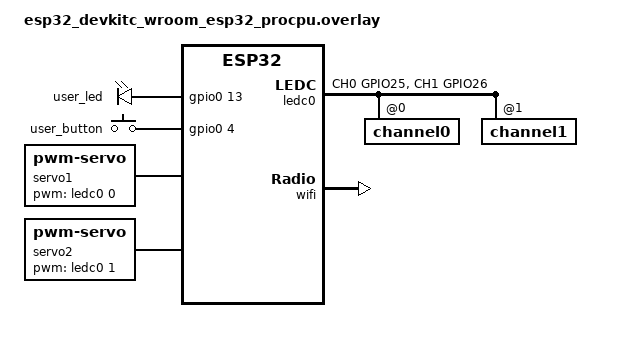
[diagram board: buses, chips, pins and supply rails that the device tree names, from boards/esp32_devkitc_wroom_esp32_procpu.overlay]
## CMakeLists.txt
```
# SPDX-License-Identifier: Apache-2.0

cmake_minimum_required(VERSION 3.20.0)
find_package(Zephyr REQUIRED HINTS $ENV{ZEPHYR_BASE})
project(ldr_mqtt)

target_include_directories(app PRIVATE include)

target_sources(app PRIVATE
  src/main.c
  src/wifi_connect.c
  src/connection_manager.c
  src/broker_connect.c
  src/mqtt_publish.c
  src/servo_control.c
)
```

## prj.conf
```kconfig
# Wi-Fi Configuration
CONFIG_WIFI=y

# Network Configuration
CONFIG_NET_CONFIG_AUTO_INIT=n
CONFIG_NET_CONNECTION_MANAGER=y
CONFIG_NET_DHCPV4=y
CONFIG_NET_DHCPV4_SERVER=y
CONFIG_NET_IF_MAX_IPV4_COUNT=2
CONFIG_NET_IF_MAX_IPV6_COUNT=2
CONFIG_NET_IPV4=y
CONFIG_NET_L2_ETHERNET=y
CONFIG_NET_L2_WIFI_MGMT=y
CONFIG_NET_MGMT=y
CONFIG_NET_MGMT_EVENT=y
CONFIG_NET_MGMT_EVENT_INFO=y
CONFIG_NET_MGMT_EVENT_QUEUE_SIZE=10
CONFIG_NET_MGMT_EVENT_STACK_SIZE=4096
CONFIG_NET_PKT_RX_COUNT=16
CONFIG_NET_PKT_TX_COUNT=16
CONFIG_NET_SOCKETS_SERVICE_STACK_SIZE=4096
CONFIG_NET_TCP=y
CONFIG_NET_UDP=y
CONFIG_NETWORKING=y

# GPIO e logs
CONFIG_GPIO=y
CONFIG_LOG=y
CONFIG_LOG_MODE_DEFERRED=n
CONFIG_NET_LOG=y

CONFIG_POSIX_API=y

# MQTT
CONFIG_MQTT_LIB=y
CONFIG_MQTT_LIB_TLS=n


# Networking
CONFIG_NET_SOCKETS=y

#
CONFIG_STDOUT_CONSOLE=y
CONFIG_PRINTK=y
CONFIG_PWM=y

CONFIG_HEAP_MEM_POOL_SIZE=4096
CONFIG_ASSERT=y
CONFIG_GPIO=y

# ADC
CONFIG_ADC=y
CONFIG_ADC_ESP32=y
```

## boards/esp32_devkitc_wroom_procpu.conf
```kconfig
CONFIG_WIFI_ESP32=y
CONFIG_ESP32_WIFI_STA_AUTO_DHCPV4=y
CONFIG_WIFI_NM=y
CONFIG_WIFI_NM_MAX_MANAGED_INTERFACES=1
```

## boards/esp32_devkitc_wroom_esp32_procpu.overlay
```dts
#include <zephyr/dt-bindings/pwm/pwm.h>

/ {
    aliases {
        led0 = &user_led;
        sw0 = &user_button;
        servo1 = &servo1;
        servo2 = &servo2;
    };

    leds {
        compatible = "gpio-leds";
        user_led: led_0 {
            gpios = <&gpio0 13 GPIO_ACTIVE_HIGH>;
        };
    };

    buttons {
        compatible = "gpio-keys";
        user_button: button_0 {
            gpios = <&gpio0 4 GPIO_ACTIVE_HIGH>;
        };
    };

    servo1: servo1 {
        compatible = "pwm-servo";
        pwms = <&ledc0 0 PWM_MSEC(20) PWM_POLARITY_NORMAL>;
        min-pulse = <PWM_USEC(1000)>;
        max-pulse = <PWM_USEC(2000)>;
    };

    servo2: servo2 {
        compatible = "pwm-servo";
        pwms = <&ledc0 1 PWM_MSEC(20) PWM_POLARITY_NORMAL>;
        min-pulse = <PWM_USEC(1000)>;
        max-pulse = <PWM_USEC(2000)>;
    };
};

&pinctrl {
    ledc0_default: ledc0_default {
        group1 {
            pinmux = <LEDC_CH0_GPIO25>;
            output-enable;
        };
        group2 {
            pinmux = <LEDC_CH1_GPIO26>;
            output-enable;
        };
    };
};

&ledc0 {
    pinctrl-0 = <&ledc0_default>;
    pinctrl-names = "default";
    status = "okay";
    #address-cells = <1>;
    #size-cells = <0>;

    channel0@0 {
        reg = <0x0>;
        timer = <0>;
    };

    channel1@1 {
        reg = <0x1>;
        timer = <0>;
    };
};

&wifi {
    status = "okay";
};
```

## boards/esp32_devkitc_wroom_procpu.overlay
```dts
/ {
    aliases {
        led0 = &user_led;
        sw0 = &user_button;
    };

    leds {
        compatible = "gpio-leds";
        user_led: led_0 {
            gpios = <&gpio0 13 GPIO_ACTIVE_HIGH>;
        };
    };

    buttons {
        compatible = "gpio-keys";
        user_button: button_0 {
            gpios = <&gpio0 4 GPIO_ACTIVE_HIGH>;
        };
    };
};

&wifi {
	status = "okay";
};
```

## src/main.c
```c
#include <zephyr/kernel.h>
#include <zephyr/device.h>
#include <zephyr/drivers/gpio.h>
#include <zephyr/logging/log.h>
#include <zephyr/net/dhcpv4_server.h>
#include <zephyr/net/mqtt.h>
#include <zephyr/net/socket.h>
#include <zephyr/posix/arpa/inet.h>
#include <string.h>

#include "wifi_connect.h"
#include "config.h"
#include "connection_manager.h"
#include "mqtt_publish.h"
#include "servo_control.h"

LOG_MODULE_REGISTER(main_app, LOG_LEVEL_INF);
extern volatile bool mqtt_conectado;


int main(void)
{
    //servo_control_init();
    connection_manager_start();

    while (!mqtt_conectado) {
        LOG_INF("Aguardando conexão MQTT...");
        k_sleep(K_SECONDS(1));
    }

    while (1) {
        k_sleep(K_SECONDS(10));

        if (mqtt_conectado) {
            char payload[32];
            snprintf(payload, sizeof(payload), "Pulse width: %lu", servo1_posicao);
            int ret = mqtt_publish_data("servo/position", payload);
            //LOG_WRN("%lu",servo1_posicao);
            //int ret = mqtt_publish_data("zephyr/test", "olá do main!");
            if (ret != 0) {
                LOG_ERR("Falha ao publicar MQTT: %d", ret);
            }
        } else {
            LOG_WRN("MQTT não conectado, pulando publicação.");
        }
    }

    return 0;
}
```

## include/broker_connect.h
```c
#ifndef BROKER_CONNECT_H
#define BROKER_CONNECT_H

#include <zephyr/net/mqtt.h>

int connect_to_mqtt();
extern volatile bool mqtt_conectado;
extern struct k_thread *mqtt_thread_id;

#endif // BROKER_CONNECT_H
```

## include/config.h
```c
#ifndef CONFIG_H
#define CONFIG_H

#define WIFI_SSID "iPhone de Matheus"
#define WIFI_PSK "matheus123"

#define MQTT_BROKER_ADDR "172.20.10.11"
#define MQTT_BROKER_PORT 1883

#define MQTT_CLIENT_ID "zephyr_client"
#define MQTT_TOPIC_DEFAULT "zephyr/test"
#define MQTT_QOS MQTT_QOS_0_AT_MOST_ONCE

#endif
```

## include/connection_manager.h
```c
#ifndef CONNECTION_MANAGER_H
#define CONNECTION_MANAGER_H

void connection_watchdog(void);
void connection_manager_start(void);

#endif
```

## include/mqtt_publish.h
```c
#ifndef MQTT_PUBLISH_H
#define MQTT_PUBLISH_H

int mqtt_publish_data(const char *topic, const char *payload);

#endif
```

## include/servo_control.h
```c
#ifndef SERVO_CONTROL_H
#define SERVO_CONTROL_H

#include <stdint.h>


void servo_control_init(void);


void set_servo_position(uint8_t index, uint8_t angle);
extern uint32_t servo1_posicao;


#endif 
```

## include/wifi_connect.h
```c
#ifndef WIFI_CONNECT_H
#define WIFI_CONNECT_H

int connect_to_wifi();
extern volatile bool wifi_conectado;

#endif
```

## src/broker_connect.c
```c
#include <zephyr/net/mqtt.h>
#include <zephyr/logging/log.h>
#include <zephyr/net/socket.h>
#include <string.h>
#include "config.h"
#include "broker_connect.h"

LOG_MODULE_REGISTER(broker_connect, LOG_LEVEL_INF);

volatile bool mqtt_conectado = false;
struct mqtt_client mqtt_global_client;
struct sockaddr_storage mqtt_broker;


static void mqtt_evt_handler(struct mqtt_client *const client, const struct mqtt_evt *evt)
{
    switch (evt->type) {
    case MQTT_EVT_CONNACK:
        if (evt->result == 0) {
            LOG_INF("MQTT conectado com sucesso.");
            mqtt_conectado = true;
            mqtt_thread_id = NULL;  // <- Permite reconexão futura caso caia
        } else {
            LOG_ERR("Falha na conexão MQTT: %d", evt->result);
            mqtt_conectado = false;
            mqtt_thread_id = NULL;  // <- Permite nova tentativa
        }
        break;

    case MQTT_EVT_DISCONNECT:
        LOG_WRN("Desconectado do broker MQTT.");
        mqtt_conectado = false;
        mqtt_thread_id = NULL;  // <- Permite nova tentativa
        break;

    default:
        break;
    }
}


#define MQTT_BUFFER_SIZE 512

static uint8_t rx_buffer[MQTT_BUFFER_SIZE];
static uint8_t tx_buffer[MQTT_BUFFER_SIZE];

int connect_to_mqtt(void)
{
    struct sockaddr_in *broker4 = (struct sockaddr_in *)&mqtt_broker;

    broker4->sin_family = AF_INET;
    broker4->sin_port = htons(MQTT_BROKER_PORT);
    inet_pton(AF_INET, MQTT_BROKER_ADDR, &broker4->sin_addr);

    mqtt_client_init(&mqtt_global_client);

    mqtt_global_client.broker = &mqtt_broker;
    mqtt_global_client.evt_cb = mqtt_evt_handler;
    mqtt_global_client.client_id.utf8 = (uint8_t *)MQTT_CLIENT_ID;
    mqtt_global_client.client_id.size = strlen(MQTT_CLIENT_ID);
    mqtt_global_client.protocol_version = MQTT_VERSION_3_1_1;
    mqtt_global_client.transport.type = MQTT_TRANSPORT_NON_SECURE;

    // ✅ Buffers obrigatórios para funcionamento correto
    mqtt_global_client.rx_buf = rx_buffer;
    mqtt_global_client.rx_buf_size = sizeof(rx_buffer);
    mqtt_global_client.tx_buf = tx_buffer;
    mqtt_global_client.tx_buf_size = sizeof(tx_buffer);

    int ret = mqtt_connect(&mqtt_global_client);
    if (ret != 0) {
        LOG_ERR("Erro ao tentar conectar ao broker MQTT: %d", ret);
        mqtt_conectado = false;
        return ret;
    }

    return 0;
}
```

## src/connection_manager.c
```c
#include <zephyr/kernel.h>
#include <zephyr/logging/log.h>
#include <stddef.h> // para NULL
#include "wifi_connect.h"
#include "broker_connect.h"

LOG_MODULE_REGISTER(connection_manager, LOG_LEVEL_INF);

#define STACK_SIZE 2048
#define PRIORITY 1
K_THREAD_STACK_DEFINE(conn_stack, STACK_SIZE);
static struct k_thread conn_thread;

#define MQTT_STACK_SIZE 6144
#define MQTT_PRIORITY 2
K_THREAD_STACK_DEFINE(mqtt_stack, MQTT_STACK_SIZE);
static struct k_thread mqtt_thread;

struct k_thread *mqtt_thread_id = NULL;
extern struct mqtt_client mqtt_global_client;

void mqtt_connection_thread(void *p1, void *p2, void *p3)
{
    ARG_UNUSED(p1); ARG_UNUSED(p2); ARG_UNUSED(p3);
    LOG_INF("Thread MQTT iniciada");

    int rc = connect_to_mqtt();

    if (rc != 0) {
        LOG_ERR("Falha na conexão inicial ao broker MQTT.");
        mqtt_thread_id = NULL;
        return;
    }

    // Aguarda o CONNACK sendo processado via mqtt_input()
    int tentativas = 0;
    while (!mqtt_conectado && tentativas++ < 30) {  // Espera até 3 segundos
        mqtt_input(&mqtt_global_client);  // <- importante!
        k_sleep(K_MSEC(100));
    }

    if (!mqtt_conectado) {
        LOG_ERR("Timeout aguardando CONNACK do broker.");
        mqtt_thread_id = NULL;
        return;
    }

    // Loop principal
    while (mqtt_conectado) {
        rc = mqtt_input(&mqtt_global_client);
        if (rc && rc != -EAGAIN) {
            LOG_ERR("mqtt_input falhou: %d", rc);
            break;
        }

        rc = mqtt_live(&mqtt_global_client);
        if (rc && rc != -EAGAIN) {
            LOG_ERR("mqtt_live falhou: %d", rc);
            break;
        }

        k_sleep(K_MSEC(500));
    }

    LOG_WRN("Loop MQTT encerrado, resetando conexão...");
    mqtt_conectado = false;
    mqtt_thread_id = NULL;
}


void connection_watchdog(void *p1, void *p2, void *p3)
{
    ARG_UNUSED(p1); ARG_UNUSED(p2); ARG_UNUSED(p3);

    while (1) {
        if (!wifi_conectado) {
            LOG_INF("Tentando se reconectar ao wifi ...");
            connect_to_wifi();
        } else if (!mqtt_conectado && mqtt_thread_id == NULL) {
            LOG_INF("Tentando se reconectar ao mqtt (em thread separada)");
            mqtt_thread_id = k_thread_create(&mqtt_thread, mqtt_stack, MQTT_STACK_SIZE,
                                            mqtt_connection_thread, NULL, NULL, NULL,
                                            MQTT_PRIORITY, 0, K_NO_WAIT);
        }

        k_sleep(K_SECONDS(10));
    }
}

void connection_manager_start(void)
{
    LOG_INF("Iniciando Connection Manager...");
    k_thread_create(&conn_thread, conn_stack, STACK_SIZE,
                    connection_watchdog, NULL, NULL, NULL,
                    PRIORITY, 0, K_NO_WAIT);
}
```

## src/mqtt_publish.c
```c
#include <zephyr/net/mqtt.h>
#include <zephyr/logging/log.h>
#include "mqtt_publish.h"
#include "config.h"
#include "broker_connect.h"
#include <zephyr/random/random.h>


LOG_MODULE_REGISTER(mqtt_publish, LOG_LEVEL_INF);

// Extern para acessar a instância global
extern struct mqtt_client mqtt_global_client;
extern volatile bool mqtt_conectado;

int mqtt_publish_data(const char *topic, const char *payload)
{
    if (!mqtt_conectado) {
        LOG_WRN("Abortando publish: MQTT não está conectado.");
        return -ENOTCONN;
    }

    struct mqtt_publish_param param;

    param.message.topic.qos = MQTT_QOS_0_AT_MOST_ONCE;
    param.message.topic.topic.utf8 = (uint8_t *)topic;
    param.message.topic.topic.size = strlen(topic);
    param.message.payload.data = (uint8_t *)payload;
    param.message.payload.len = strlen(payload);
    param.message_id = sys_rand32_get();
    param.dup_flag = 0;
    param.retain_flag = 0;

    int rc = mqtt_publish(&mqtt_global_client, &param);
    if (rc != 0) {
        LOG_ERR("Erro ao publicar: %d", rc);
    } else {
        LOG_INF("Mensagem publicada: %s", payload);
    }

    return 0;
}
```

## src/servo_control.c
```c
#include <zephyr/kernel.h>
#include <zephyr/device.h>
#include <zephyr/drivers/pwm.h>
#include <zephyr/logging/log.h>

LOG_MODULE_REGISTER(servo_control, LOG_LEVEL_INF);

#define STACKSIZE 1024
#define PRIORITY 5
#define STEP PWM_USEC(50)

#define NUM_SERVOS 4

#define SERVO_ALIAS(n) DT_ALIAS(servo##n)

#if !DT_NODE_HAS_STATUS_OKAY(SERVO_ALIAS(1))
#error "Alias servo1 não definido"
#endif
#if !DT_NODE_HAS_STATUS_OKAY(SERVO_ALIAS(2))
#error "Alias servo2 não definido"
#endif
#if !DT_NODE_HAS_STATUS_OKAY(SERVO_ALIAS(3))
#error "Alias servo3 não definido"
#endif
#if !DT_NODE_HAS_STATUS_OKAY(SERVO_ALIAS(4))
#error "Alias servo4 não definido"
#endif

uint32_t servo1_posicao = 0;


enum direction {
    UP,
    DOWN,
};

struct servo_config {
    struct pwm_dt_spec pwm;
    uint32_t pulse_width;
    enum direction dir;
    uint32_t min_pulse;
    uint32_t max_pulse;
};

static struct servo_config servos[NUM_SERVOS] = {
    {
        .pwm = PWM_DT_SPEC_GET(SERVO_ALIAS(1)),
        .pulse_width = DT_PROP(SERVO_ALIAS(1), min_pulse),
        .dir = UP,
        .min_pulse = DT_PROP(SERVO_ALIAS(1), min_pulse),
        .max_pulse = DT_PROP(SERVO_ALIAS(1), max_pulse),
    },
    {
        .pwm = PWM_DT_SPEC_GET(SERVO_ALIAS(2)),
        .pulse_width = DT_PROP(SERVO_ALIAS(2), max_pulse),
        .dir = DOWN,
        .min_pulse = DT_PROP(SERVO_ALIAS(2), min_pulse),
        .max_pulse = DT_PROP(SERVO_ALIAS(2), max_pulse),
    },
    {
        .pwm = PWM_DT_SPEC_GET(SERVO_ALIAS(3)),
        .pulse_width = DT_PROP(SERVO_ALIAS(3), min_pulse),
        .dir = UP,
        .min_pulse = DT_PROP(SERVO_ALIAS(3), min_pulse),
        .max_pulse = DT_PROP(SERVO_ALIAS(3), max_pulse),
    },
    {
        .pwm = PWM_DT_SPEC_GET(SERVO_ALIAS(4)),
        .pulse_width = DT_PROP(SERVO_ALIAS(4), max_pulse),
        .dir = DOWN,
        .min_pulse = DT_PROP(SERVO_ALIAS(4), min_pulse),
        .max_pulse = DT_PROP(SERVO_ALIAS(4), max_pulse),
    },
};

static void servo_motor(void *p1, void *p2, void *p3)
{
    struct servo_config *ctx = p1;

    while (1) {
        pwm_set_pulse_dt(&ctx->pwm, ctx->pulse_width);
        if (ctx == &servos[0]) {
            servo1_posicao = ctx->pulse_width;
        }

        LOG_INF("Servo ajustado para %d us", ctx->pulse_width);

        if (ctx->dir == UP) {
            if (ctx->pulse_width + STEP >= ctx->max_pulse) {
                ctx->pulse_width = ctx->max_pulse;
                ctx->dir = DOWN;
            } else {
                ctx->pulse_width += STEP;
            }
        } else {
            if (ctx->pulse_width <= ctx->min_pulse + STEP) {
                ctx->pulse_width = ctx->min_pulse;
                ctx->dir = UP;
            } else {
                ctx->pulse_width -= STEP;
            }
        }

        k_sleep(K_MSEC(200));
    }
}

K_THREAD_DEFINE(servo1_thread_id, STACKSIZE, servo_motor, &servos[0], NULL, NULL, PRIORITY, 0, 0);
K_THREAD_DEFINE(servo2_thread_id, STACKSIZE, servo_motor, &servos[1], NULL, NULL, PRIORITY, 0, 0);
K_THREAD_DEFINE(servo3_thread_id, STACKSIZE, servo_motor, &servos[2], NULL, NULL, PRIORITY, 0, 0);
K_THREAD_DEFINE(servo4_thread_id, STACKSIZE, servo_motor, &servos[3], NULL, NULL, PRIORITY, 0, 0);

void servo_control_init(void) {
    for (int i = 0; i < NUM_SERVOS; i++) {
        if (!device_is_ready(servos[i].pwm.dev)) {
            LOG_ERR("PWM %d não está pronto!", i);
        } else {
            pwm_set_pulse_dt(&servos[i].pwm, servos[i].pulse_width);
        }
    }
}
```

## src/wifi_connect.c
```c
#include <zephyr/net/net_if.h>
#include <zephyr/net/wifi_mgmt.h>
#include <zephyr/net/net_mgmt.h>
#include <zephyr/kernel.h>
#include <zephyr/logging/log.h>
#include <string.h>
#include "wifi_connect.h"
#include "config.h"

LOG_MODULE_REGISTER(wifi_connect, LOG_LEVEL_INF);

/* STA Mode Configuration */
static struct net_if *sta_iface;
static struct wifi_connect_req_params sta_config; // cria uma dado com a estrutura wifi_ conec... que vai ser usado em connect_to_wifi()
static struct net_mgmt_event_callback wifi_cb;
static struct net_mgmt_event_callback ip_cb;

volatile bool wifi_conectado = false;

// Este método só é utilizado para gerar logs, em uma versão mais enxuta, poderia ser removida (pode ser utilizada para fazer reconexão)
static void wifi_event_handler(struct net_mgmt_event_callback *cb,
                               uint32_t mgmt_event,
                               struct net_if *iface)
{
    switch (mgmt_event) {
    case NET_EVENT_WIFI_CONNECT_RESULT:
        LOG_INF("Wi-Fi conectado, aguardando IP...");
        break;

    case NET_EVENT_WIFI_DISCONNECT_RESULT:
        wifi_conectado = false;
        LOG_WRN("Wi-Fi desconectado.");
        break;
    }
}

static void ip_event_handler(struct net_mgmt_event_callback *cb,
                             uint32_t mgmt_event,
                             struct net_if *iface)
{
    if (mgmt_event == NET_EVENT_IPV4_ADDR_ADD) {
        wifi_conectado = true;
        LOG_INF("Endereço IP atribuído com sucesso!");
    }
}

int connect_to_wifi(void)
{

    sta_iface = net_if_get_wifi_sta();

	if (!sta_iface) {
		LOG_INF("STA: interface no initialized");
		return -EIO;
	}

	net_mgmt_init_event_callback(&wifi_cb, wifi_event_handler, NET_EVENT_WIFI_CONNECT_RESULT | NET_EVENT_WIFI_DISCONNECT_RESULT);
	net_mgmt_add_event_callback(&wifi_cb);

	net_mgmt_init_event_callback(&ip_cb, ip_event_handler, NET_EVENT_IPV4_ADDR_ADD);
	net_mgmt_add_event_callback(&ip_cb);

	sta_config.ssid = (const uint8_t *)WIFI_SSID;
	sta_config.ssid_length = strlen(WIFI_SSID);
	sta_config.psk = (const uint8_t *)WIFI_PSK;
	sta_config.psk_length = strlen(WIFI_PSK);
	sta_config.security = WIFI_SECURITY_TYPE_PSK;
	sta_config.channel = WIFI_CHANNEL_ANY;
	sta_config.band = WIFI_FREQ_BAND_2_4_GHZ;

	LOG_INF("Connecting to SSID: %s\n", sta_config.ssid);

	int ret = net_mgmt(NET_REQUEST_WIFI_CONNECT, sta_iface, &sta_config, sizeof(struct wifi_connect_req_params));
	if (ret) {
		LOG_ERR("Unable to Connect to (%s)", WIFI_SSID);
	}

	return ret;
}
```
